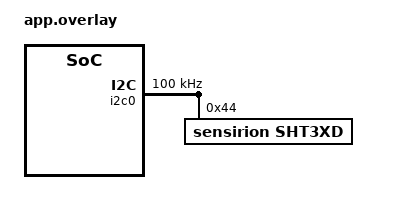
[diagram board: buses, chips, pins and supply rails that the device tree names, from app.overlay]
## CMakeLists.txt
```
# -----------------------------------------------------------------------------
#  BLE Environmental Sensor Node - Zephyr / nRF Connect SDK application
#
#  Board: nrf52840_supermini (out-of-tree board definition, see boards/)
#  Target: nRF52840 + SHT31 (I2C) + battery divider (SAADC)
# -----------------------------------------------------------------------------
cmake_minimum_required(VERSION 3.20.0)

# Out-of-tree board definitions live next to the application.
set(BOARD_ROOT ${CMAKE_CURRENT_SOURCE_DIR} CACHE INTERNAL "")

find_package(Zephyr REQUIRED HINTS $ENV{ZEPHYR_BASE})

project(env_sensor_node)

target_sources(app PRIVATE
    src/main.c
    src/board_power.c
    src/env_sensor.c
    src/history.c
    src/env_service.c
    src/power.c
    src/status_led.c
    src/bootloader.c
)
```

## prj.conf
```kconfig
# =============================================================================
#  BLE Environmental Sensor Node - application configuration
#  nRF Connect SDK v2.7.0 (Zephyr 3.6.99-ncs2), board: nrf52840_supermini
#
#  NOTE: Kconfig does not support trailing comments on a value line - a
#  "# ..." after "=y" becomes part of the value and the assignment is
#  rejected. Comments therefore go on their own line.
# =============================================================================

# -----------------------------------------------------------------------------
#  Logging - the console is routed to USB CDC ACM (no UART bridge on the board)
# -----------------------------------------------------------------------------
CONFIG_LOG=y
CONFIG_LOG_MODE_DEFERRED=y
CONFIG_LOG_DEFAULT_LEVEL=3
CONFIG_LOG_BUFFER_SIZE=4096
CONFIG_LOG_PROCESS_THREAD_STACK_SIZE=1024

CONFIG_CONSOLE=y
CONFIG_SERIAL=y
CONFIG_UART_CONSOLE=y
CONFIG_UART_INTERRUPT_DRIVEN=y
CONFIG_LOG_BACKEND_UART=y

CONFIG_USB_DEVICE_STACK=y
CONFIG_USB_CDC_ACM=y
CONFIG_USB_DEVICE_INITIALIZE_AT_BOOT=y

# Same identifiers the board uses in application mode, so the host keeps
# treating it as the same device across a reflash.
CONFIG_USB_DEVICE_VID=0x239A
CONFIG_USB_DEVICE_PID=0x8029
CONFIG_USB_DEVICE_MANUFACTURER="EnvNode"
CONFIG_USB_DEVICE_PRODUCT="Env Sensor Node"

# -----------------------------------------------------------------------------
#  Bluetooth LE peripheral
# -----------------------------------------------------------------------------
CONFIG_BT=y
CONFIG_BT_PERIPHERAL=y
CONFIG_BT_DEVICE_NAME="EnvNode"
CONFIG_BT_DEVICE_NAME_DYNAMIC=n
CONFIG_BT_MAX_CONN=1

# Appearance 0x0541 = "Sensor". Zephyr expresses the 16-bit assigned number
# in decimal in Kconfig.
CONFIG_BT_DEVICE_APPEARANCE=1345

# Built-in (open source) link layer. On a full NCS install the Nordic
# SoftDevice Controller is the alternative: add the sdk-nrfxlib module and
# swap this pair for CONFIG_BT_LL_SOFTDEVICE=y, which trades flash for a
# slightly better radio power profile.
CONFIG_BT_CTLR=y
CONFIG_BT_LL_SW_SPLIT=y

# No pairing: the service is read/notify only. Enabling LE Secure Connections
# is CONFIG_BT_SMP=y plus BT_GATT_PERM_*_ENCRYPT on the characteristic
# permissions in env_service.c.
CONFIG_BT_SMP=n
CONFIG_BT_PRIVACY=n
CONFIG_BT_GATT_DYNAMIC_DB=n
CONFIG_BT_GATT_NOTIFY_MULTIPLE=n
CONFIG_BT_EXT_ADV=n

# Requested connection parameters: 100 ms interval, no latency, 4 s
# supervision. Zephyr expresses the interval in 1.25 ms units, so 80 == 100 ms.
CONFIG_BT_PERIPHERAL_PREF_MIN_INT=80
CONFIG_BT_PERIPHERAL_PREF_MAX_INT=80
CONFIG_BT_PERIPHERAL_PREF_LATENCY=0
CONFIG_BT_PERIPHERAL_PREF_TIMEOUT=400

CONFIG_BT_BUF_ACL_TX_COUNT=4
CONFIG_BT_BUF_ACL_RX_COUNT=4

# -----------------------------------------------------------------------------
#  Declared 32.768 kHz accuracy
#
# This is a radio power setting, not a clock formality, and the default is a
# pessimistic one.
#
# The controller has to open each radio window early enough to cover the
# frequency error of both ends, and the width it uses is derived from this
# number. A looser accuracy means wider windows, which means more time with the
# radio and the HFXO powered, which means more average current - on every
# advertising event, for the whole life of the product.
#
# Zephyr's default for a crystal source is CLOCK_CONTROL_NRF_K32SRC_50PPM
# ("31 ppm to 50 ppm"). A common 32.768 kHz tuning-fork crystal is specified at
# +/-20 ppm, and the driver offers that as its own choice, so the default can be
# several times looser than the hardware warrants. On a node whose entire budget
# is 50 uA, that is worth correcting.
#
# Where the number comes from, and the honest limits of it: a board measured
# 65 uA before its first connection and 51 uA afterwards, with nothing in the
# application changing between the two - on_disconnected() restores the same
# sampling cadence and restarts advertising on the same interval. What does
# change across a first connection is what the controller knows: before it, the
# only drift figure available is this declared one; after it, the peer has been
# measured. The 14 uA is consistent with the windows narrowing once the drift is
# no longer a guess.
#
# That is a hypothesis, not a measurement, so it is set up to be tested rather
# than asserted. The test is one line and needs no connection:
#
#     flash this build and measure WITHOUT connecting. If the cold figure
#     moves toward 51 uA, the declared accuracy was the limiter. If it does
#     not move, the difference is elsewhere and this line is still correct
#     for the hardware - just not the explanation.
#
# 30 ppm is the conservative first step: a real narrowing from 50, without
# claiming more than most crystals deliver. If it helps, try 20 ppm.
#
# DIAGNOSTIC FOR BACKING IT OFF: too-tight a declaration is not free. It makes
# the windows too narrow, which shows up as dropped packets and, eventually, a
# link that will not stay up. If connections start failing or disconnect with a
# supervision timeout (reason 0x08) or fail to establish (0x3E), go back to 50.
# The crystal's actual specification is the correct value, and a datasheet beats
# either guess.
CONFIG_CLOCK_CONTROL_NRF_K32SRC_30PPM=y

# -----------------------------------------------------------------------------
#  Sensors
# -----------------------------------------------------------------------------
CONFIG_SENSOR=y
CONFIG_SHT3XD=y
CONFIG_I2C=y
CONFIG_ADC=y

# Single-shot, not periodic. This is the difference between an SHT3x that costs
# 0.3 uA and one that costs about 9 uA, and the driver's default is the expensive
# one.
#
# The choice is a Zephyr Kconfig 'choice' inside the driver, and its default is
# CONFIG_SHT3XD_PERIODIC_MODE: sht3xd_init() writes the periodic-measurement
# command at boot and the part then measures for ever, whether or not anything
# reads it. With CONFIG_SHT3XD_MPS_1 that is one measurement per second, and a
# periodic conversion at high repeatability draws about 600 uA for about 15 ms:
#
#     600 uA x 15 ms = 9 uAs per second  ->  ~9 uA average, continuously
#
# This application reads the sensor once per 30 s. Paying 9 uA to take 30
# measurements and use one is the kind of waste that never shows up as a bug,
# only as a standby current that will not come down. It is worth a mention in
# this file because nothing in the application source would ever have revealed
# it.
#
# In single-shot mode the conversion is started by sensor_sample_fetch() and the
# part returns to its idle state (about 0.2 uA) afterwards:
#
#     one conversion per 30 s  ->  ~0.3 uA average
#
# The cost is that sensor_sample_fetch() blocks for the measurement - 15 ms at
# high repeatability. The sampler runs from a work queue on a 30 s cadence, so
# blocking for 15 ms of that is free.
#
# There is a bonus beyond the current: a single-shot reading is taken when it is
# asked for, rather than being up to a second old by the time it is collected.
CONFIG_SHT3XD_SINGLE_SHOT_MODE=y

# -----------------------------------------------------------------------------
#  Power management
#    connected    : System ON, MCU running, 2 s notify cadence
#    disconnected : System ON Idle, RTC running, 30 s sampling cadence
#
#  Note that CONFIG_PM / CONFIG_PM_DEVICE are deliberately absent, and that
#  is a platform fact rather than an omission.
#
#  Once every thread is blocked the idle thread executes WFE and the nRF52840
#  drops into System ON Idle with the RTC and RAM alive - no configuration
#  required. CONFIG_TICKLESS_KERNEL is what makes that state worth anything:
#  without it the kernel would wake on every tick instead of sleeping all the
#  way until the next scheduled sample.
#
#  CONFIG_PM / CONFIG_PM_DEVICE / CONFIG_PM_DEVICE_RUNTIME all depend on
#  HAS_PM, and no Nordic SoC selects HAS_PM in Zephyr 3.6.99. Verified in
#  both this tree and upstream v3.7.0: soc/nordic/nrf52/Kconfig selects
#  HAS_POWEROFF but never HAS_PM, and nothing under soc/nordic implements
#  pm_state_set(). nRF52 has no intermediate SoC power states to program, so
#  there is nothing for the subsystem to manage - setting CONFIG_PM=y here
#  would silently resolve to n.
#
#  The deep-sleep primitive that *is* modelled for this SoC is System OFF:
#
#    CONFIG_POWEROFF=y     -> pm_system_off(), needs a GPIO to wake it up
#
#  The SuperMini has no user button, so there is no wake source and System
#  OFF is left unused. See README section 5.
# -----------------------------------------------------------------------------
CONFIG_TICKLESS_KERNEL=y

# -----------------------------------------------------------------------------
#  Kernel sizing
# -----------------------------------------------------------------------------
CONFIG_MAIN_STACK_SIZE=2048
CONFIG_SYSTEM_WORKQUEUE_STACK_SIZE=1536
CONFIG_HEAP_MEM_POOL_SIZE=0
CONFIG_ASSERT=y

# -----------------------------------------------------------------------------
#  Firmware output: Adafruit UF2 for the nice!nano / SuperMini bootloader
# -----------------------------------------------------------------------------
CONFIG_BUILD_OUTPUT_UF2=y

# sys_reboot() is what bootloader.c uses to hand the machine over to the
# bootloader (it writes the DFU magic into NRF_POWER->GPREGRET first, so the
# reset lands straight in UF2 mode). The Kconfig guard hides it by default.
CONFIG_REBOOT=y

# =============================================================================
#  MCUboot OTA - NOT ENABLED ON THIS BOARD
#
#  The SuperMini ships with the Adafruit UF2 bootloader (USB MSC drag & drop,
#  UF2 volume label "NICENANO", USB 239A:00B3). That bootloader owns
#  0x000F4000-0x00100000 and reserves 0x00000-0x26000 for the MBR plus
#  SoftDevice S140, so there is no free region for a second MCUboot slot, and
#  MCUboot itself cannot be installed without an SWD probe.
#
#  To build this exact application with MCUboot on an nRF52840 DK (on-board
#  J-Link), swap the board target and uncomment the block below:
#
#    west build -b nrf52840dk/nrf52840 --sysbuild zephyr/
#
#  CONFIG_BOOTLOADER_MCUBOOT=y
#  CONFIG_MCUBOOT_SIGNATURE_KEY_FILE="mcuboot_private.pem"
#  CONFIG_MCUBOOT_IMAGE_VERSION="1.0.0"
#
#  Then flash the bootloader once over SWD and everything afterwards over BLE:
#    west flash --erase
#    mcumgr --conntype ble --connstring peer_name=EnvNode image upload zephyr.signed.bin
#
#  The application code in src/ is identical on both targets - only the
#  partition layout and the bootloader differ.
# =============================================================================
```

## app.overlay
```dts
/*
 * Application overlay for the BLE environmental sensor node.
 *
 * Everything here is a *project* decision; the board definition in
 * boards/nordic/nrf52840_supermini/ owns the SoC, flash layout, LED and
 * console. Keeping the split explicit means the same application can be
 * rebuilt for an nRF52840 DK by swapping the board target and pointing the
 * sensor at whatever pins the DK is wired to.
 *
 * Wiring
 * ------
 *   SHT31 VIN  -> 3V3
 *   SHT31 GND  -> GND
 *   SHT31 SDA  -> P1.04   (silkscreen "104")
 *   SHT31 SCL  -> P1.06   (silkscreen "106")
 *   SHT31 ADDR -> GND     (selects I2C address 0x44)
 *
 * 3V3 and the two I2C lines are all the sensor needs; the pull-ups are on
 * the breakout board. The data lines sit on the nRF52840's internal pull-ups
 * in sleep mode as well, which is why pinctrl marks them low-power-enable.
 */

&i2c0 {
	clock-frequency = <I2C_BITRATE_STANDARD>; /* 100 kHz */

	sht3xd: sht3xd@44 {
		compatible = "sensirion,sht3xd";
		reg = <0x44>;

		/*
		 * The SHT31 supports up to 1 MHz, but 100 kHz keeps the
		 * wiring forgiving on a breadboard and costs nothing at a
		 * 2 s sample interval.
		 */
	};
};
```

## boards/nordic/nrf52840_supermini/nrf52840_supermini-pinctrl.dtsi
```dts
/*
 * Pin control for the SuperMini nRF52840.
 *
 * Copyright (c) 2026
 * SPDX-License-Identifier: Apache-2.0
 *
 * The SuperMini silkscreens port numbers directly: "104" is P1.04 and "106"
 * is P1.06. I2C0 is wired there, which keeps the sensor on pins that are
 * actually broken out and leaves the nice!nano defaults (P0.17 / P0.20) free.
 */

&pinctrl {
	i2c0_default: i2c0_default {
		group1 {
			psels = <NRF_PSEL(TWIM_SDA, 1, 4)>,
				<NRF_PSEL(TWIM_SCL, 1, 6)>;
		};
	};

	i2c0_sleep: i2c0_sleep {
		group1 {
			psels = <NRF_PSEL(TWIM_SDA, 1, 4)>,
				<NRF_PSEL(TWIM_SCL, 1, 6)>;
			low-power-enable;
		};
	};
};
```

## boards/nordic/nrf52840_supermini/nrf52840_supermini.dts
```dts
/*
 * SuperMini nRF52840 - a nice!nano v2 compatible clone.
 *
 * Copyright (c) 2026
 * SPDX-License-Identifier: Apache-2.0
 *
 * This board definition exists because upstream Zephyr ships no nRF52840
 * board that matches this hardware. The parts that matter and where they come
 * from:
 *
 *   - LED on P0.15, active high: taken from the Adafruit nRF52 bootloader's
 *     src/boards/nice_nano/board.h (LED_PRIMARY_PIN PINNUM(0,15),
 *     LED_STATE_ON 1).
 *   - Flash layout: the Adafruit bootloader reserves 0x00000-0x26000 for the
 *     MBR plus SoftDevice S140 and 0xF4000-0x100000 for itself, so the
 *     application is linked at 0x26000.
 *   - USB CDC ACM is the console, because the board has no UART bridge.
 */

/dts-v1/;

#include <nordic/nrf52840_qiaa.dtsi>
#include "nrf52840_supermini-pinctrl.dtsi"

/ {
	model = "SuperMini nRF52840 (nice!nano v2 compatible)";
	compatible = "nordic,nrf52840-supermini";

	chosen {
		zephyr,console = &cdc_acm_uart;
		zephyr,shell-uart = &cdc_acm_uart;
		zephyr,uart-mcumgr = &cdc_acm_uart;
		zephyr,bt-mon-uart = &cdc_acm_uart;
		zephyr,bt-c2h-uart = &cdc_acm_uart;
		zephyr,sram = &sram0;
		zephyr,flash = &flash0;
		zephyr,code-partition = &code_partition;

		/*
		 * nrf52840.dtsi points zephyr,entropy at the CryptoCell block,
		 * which only exists when the nRF Security subsystem is present
		 * (the sdk-nrfxlib module). This application does not use it, so
		 * the chosen node would reference a device that is never built
		 * and the random subsystem fails to link
		 * (`undefined reference to __device_dts_ord_N`).
		 *
		 * Point it at the nRF52840's own true random number generator
		 * instead, which is what CONFIG_ENTROPY_NRF5_RNG drives.
		 */
		zephyr,entropy = &rng;
	};

	leds {
		compatible = "gpio-leds";

		led0: led_0 {
			gpios = <&gpio0 15 GPIO_ACTIVE_HIGH>;
			label = "Blue LED";
		};
	};

	aliases {
		led0 = &led0;
		mcuboot-led0 = &led0;
		watchdog0 = &wdt0;
	};

	/*
	 * Battery voltage sensing. TWO dividers exist on this hardware and both
	 * are described here, because which one the application reads has been
	 * changed back and forth several times and the choice is a one-line
	 * setting rather than a hardware decision:
	 *
	 *   index 0 - channel 2, AIN2, P0.04 - the board's own divider
	 *
	 *     BAT+ ---[ 100k ]---+--- AIN2 / P0.04
	 *                        |
	 *                     [ 100k ]
	 *                        |
	 *                       GND
	 *
	 *     200k permanently across the cell: 18 uA at 3.6 V, 21 uA at a full
	 *     4.2 V. Soldered to the cell and to ground with no pin in between,
	 *     so nothing the firmware does can switch it off. Reading it costs
	 *     nothing extra - it draws either way - but depending on it means
	 *     giving up the option of ever stopping it.
	 *
	 *   index 1 - channel 5, AIN5, P0.29 pad "029" - a divider of our own
	 *
	 *     600k + 600k = 3.0 uA, and the number matters less than the fact
	 *     that this divider is ours to change: give its top leg a GPIO and
	 *     it is powered only for the milliseconds the ADC is sampling,
	 *     ~0.017 uA averaged. That cannot be done to the board's.
	 *
	 * Both are 1:1, so APP_BATT_DIVIDER_NUM/DEN is 2/1 either way and moving
	 * between them does not touch the conversion at all - only what can be
	 * done about the current later.
	 *
	 * Which one is read is set by APP_BATT_SENSE_CHANNEL_IDX in
	 * src/app_config.h, against the order of the io-channels list below.
	 * Active is listed second, so the compiler's default (index 0) is the
	 * board's own divider and the external one is an explicit opt-in.
	 *
	 * The nRF52840 has eight SAADC channels and they are all on port 0:
	 *
	 *   AIN0 P0.02 (pad "002")   AIN4 P0.28
	 *   AIN1 P0.03               AIN5 P0.29 (pad "029")
	 *   AIN2 P0.04               AIN6 P0.30
	 *   AIN3 P0.05               AIN7 P0.31 (pad "031")
	 *
	 * No P1.xx pin has an analog input at all, whatever the silkscreen
	 * suggests - the board prints the port number directly ("102" = P1.02).
	 *
	 * The gain and reference in both channel nodes below give a 0-3.6 V range
	 * at the pin. The multiplier that turns that into a battery voltage lives
	 * in APP_BATT_DIVIDER_NUM/DEN (see src/app_config.h).
	 */
	zephyr,user {
		/* index 0 = P0.04 (board divider), index 1 = P0.29 (external) */
		io-channels = <&adc 2>, <&adc 5>;
	};
};

&adc {
	status = "okay";
	#address-cells = <1>;
	#size-cells = <0>;

	/*
	 * No zephyr,oversampling here, deliberately.
	 *
	 * nRF SAADC hardware oversampling raises the result's width: 12-bit
	 * resolution with 4x oversampling produces a 14-bit value (0..16383)
	 * for the same 0..VFS span. The nrfx driver hands that buffer straight
	 * to the hardware (nrf_saadc_buffer_init) and does not rescale it, but
	 * adc_raw_to_millivolts() divides by 2^sequence->resolution - 4096 for
	 * resolution 12 - so the converted millivolts come out 4x too high.
	 *
	 * The first version of this file had oversampling = <4>, and the battery
	 * reading was 65501 mV. Dividing that back by 5 and by 4 gives 3275 mV
	 * at the pin, i.e. the sense pin sitting on the 3.3 V rail.
	 *
	 * Software averaging (APP_BATT_ADC_AVG samples in env_sensor.c) already
	 * does the noise reduction that hardware oversampling would have
	 * provided, without the resolution trap.
	 */
	/*
	 * Both sense inputs are defined, and only one of them is used at a time -
	 * see the io-channels comment above. Defining both costs nothing at
	 * runtime: an unused ADC channel is not configured and does not sample.
	 * The divider feeding it, however, draws whether or not anything reads
	 * it, which is the point of the whole comparison.
	 */
	channel@2 {
		reg = <2>;
		zephyr,gain = "ADC_GAIN_1_6";
		zephyr,reference = "ADC_REF_INTERNAL";
		zephyr,acquisition-time = <ADC_ACQ_TIME(ADC_ACQ_TIME_MICROSECONDS, 40)>;
		zephyr,input-positive = <NRF_SAADC_AIN2>; /* P0.04, board divider */
		zephyr,resolution = <12>;
	};

	channel@5 {
		reg = <5>;
		zephyr,gain = "ADC_GAIN_1_6";
		zephyr,reference = "ADC_REF_INTERNAL";
		zephyr,acquisition-time = <ADC_ACQ_TIME(ADC_ACQ_TIME_MICROSECONDS, 40)>;
		zephyr,input-positive = <NRF_SAADC_AIN5>; /* P0.29, pad "029" */
		zephyr,resolution = <12>;
	};
};

&gpiote {
	status = "okay";
};

&gpio0 {
	status = "okay";
};

&gpio1 {
	status = "okay";
};

&i2c0 {
	compatible = "nordic,nrf-twi";
	status = "okay";
	pinctrl-0 = <&i2c0_default>;
	pinctrl-1 = <&i2c0_sleep>;
	pinctrl-names = "default", "sleep";
};

/*
 * Flash layout imposed by the Adafruit UF2 bootloader.
 *
 *   0x00000000 - 0x00026000   MBR + SoftDevice S140 v7   (bootloader owned)
 *   0x00026000 - 0x000F4000   application                (this file)
 *   0x000F4000 - 0x00100000   bootloader + settings      (bootloader owned)
 *
 * The application is never told about the first region: with
 * CONFIG_USE_DT_CODE_PARTITION the image simply starts at code_partition and
 * the bootloader jumps straight to it.
 */
&flash0 {
	partitions {
		compatible = "fixed-partitions";
		#address-cells = <1>;
		#size-cells = <1>;

		code_partition: partition@26000 {
			label = "code";
			reg = <0x00026000 0x000C0000>;
		};

		/* Reserved for NVS / settings. Unused today because the ring
		 * buffer lives in RAM, but it keeps the layout honest and
		 * leaves room for BLE bonding storage later.
		 */
		storage_partition: partition@e6000 {
			label = "storage";
			reg = <0x000e6000 0x0000e000>;
		};
	};
};

zephyr_udc0: &usbd {
	compatible = "nordic,nrf-usbd";
	status = "okay";

	cdc_acm_uart: cdc_acm_uart {
		compatible = "zephyr,cdc-acm-uart";
	};
};
```

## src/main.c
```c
/*
 * BLE environmental sensor node - application entry point.
 *
 * Boot order matters:
 *   0. board power pins     (straps that must not be left floating, so this
 *                            comes before anything else touches a GPIO)
 *   1. history buffer       (nothing else may use it before this)
 *   2. status LED           (gives immediate visual feedback)
 *   3. sensors              (so the first read already has real values)
 *   4. Bluetooth            (brings up the controller and registers the
 *                            statically defined GATT service)
 *   5. advertising + cadence
 */

#include <zephyr/bluetooth/bluetooth.h>
#include <zephyr/kernel.h>
#include <zephyr/logging/log.h>

#include <hal/nrf_power.h>

#include "app_config.h"
#include "board_power.h"
#include "env_sensor.h"
#include "env_service.h"
#include "history.h"
#include "power.h"
#include "status_led.h"

LOG_MODULE_REGISTER(main, LOG_LEVEL_INF);

int main(void)
{
	/*
	 * Before anything else, including the banner: put the board's power
	 * straps into their non-drawing state. See board_power.c for why a
	 * floating strap on the charger costs more than the whole firmware
	 * budget.
	 */
	board_power_init();

	LOG_INF("=================================================");
	LOG_INF(" BLE environmental sensor node v%s", APP_VERSION_STRING);
	LOG_INF(" board: %s", CONFIG_BOARD_TARGET);
	LOG_INF(" build: nRF Connect SDK " APP_NCS_VERSION_STRING);
	LOG_INF("=================================================");

#if defined(NRF_POWER)
	/*
	 * Clear the reset-reason flags. This is the application's job, as the
	 * bootloader's own main.c says: "RESETREAS is not cleared by
	 * bootloader, it should be cleared by application upon init()".
	 *
	 * It matters because RESETREAS is sticky - a bit stays set until it is
	 * written back - and the bootloader reads the RESETPIN bit to decide
	 * whether a reset came from the reset pin. That bit is half of the
	 * double-tap-to-DFU condition:
	 *
	 *     dfu_start = (*dbl_reset_mem == DFU_DBL_RESET_MAGIC)
	 *                 && reason_reset_pin
	 *
	 * Leaving stale bits set makes the bootloader see "pin reset" for
	 * resets that were not, which turns a 500 ms timing window into
	 * something that only half works.
	 */
	NRF_POWER->RESETREAS = NRF_POWER->RESETREAS;
#endif

	history_init();
	status_led_init();

	if (env_sensor_init() != 0) {
		LOG_ERR("sensor init failed - the service will report invalid values");
	}

	int err = bt_enable(NULL);

	if (err != 0) {
		LOG_ERR("bt_enable failed (%d)", err);
		return 0;
	}
	LOG_INF("Bluetooth stack enabled");

	err = env_service_init();
	if (err != 0) {
		LOG_ERR("GATT service init failed (%d)", err);
	}

	power_init();

	/* Everything from here on is event driven: the work queue samples,
	 * the Bluetooth host takes care of the radio. Sleeping forever lets
	 * the idle thread park the CPU in System ON Idle.
	 */
	for (;;) {
		k_sleep(K_FOREVER);
	}
}
```

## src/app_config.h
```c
/*
 * Build-time tunables for the environmental sensor node.
 *
 * Kept as plain macros so the application has no extra Kconfig plumbing;
 * promote them to a <app>/Kconfig menu if the project grows more options.
 */

#ifndef APP_CONFIG_H_
#define APP_CONFIG_H_

/*
 * Cadence while a central is connected. The GATT notifications are driven by
 * a delayed work item, so this is exactly the notify interval.
 */
#define APP_NOTIFY_INTERVAL_S 2

/*
 * Cadence while no central is connected. Between samples the CPU stays in
 * System ON Idle and the kernel RTC keeps the time for us.
 */
#define APP_OFFLINE_SAMPLE_INTERVAL_S 30

/*
 * Advertising interval in 0.625 ms units while waiting for a reconnect.
 * 3200 == 2 s. A long interval is the single biggest lever on the average
 * standby current, so it is deliberately slow.
 *
 *     interval    advertising current at 0 dBm (approx)
 *        1 s      ~30 uA      the previous value of this build
 *        2 s      ~15 uA      what this build does
 *     100 ms      ~300 uA     ten times that, and the price of being found fast
 *
 * This was 1600 (1 s) and was doubled to 3200 to cut the radio's share of the
 * standby current, which a ~100 uA board reading made worth taking.
 *
 * A two-phase scheme - fast advertising for the first 60 s after boot and again
 * after every disconnect, then slow - was built here and then reverted, and the
 * reasoning is worth keeping, because the trade is not visible from either side
 * alone. It would make discovery feel immediate while costing almost nothing
 * over a day (300 uA for 60 s, then 30 uA, averages 30.2 uA). What it also does
 * is put a ~300 uA state into the firmware, so a standby reading taken inside
 * that window comes out ten times too high - and "why is my number wrong" has
 * already been the most expensive question in this project, repeatedly.
 *
 * The cost of a long steady interval is discovery latency, and the floor on this
 * hardware is known: field experience here found 3 s already too slow for a
 * phone to find or connect to the node. 2 s is halfway back from that limit and
 * was chosen with it in mind. If a phone starts failing to find the node, 1600
 * (1 s) is the value to put back - and note that the interval is not where the
 * large numbers are; see data/README.md.
 */
#define APP_ADV_INTERVAL_UNITS 3200

/* Give up (and stop advertising) after this many seconds, 0 = never. */
#define APP_ADV_TIMEOUT_S 0

/*
 * Battery voltage divider, Vbat = Vadc * NUM / DEN.
 *
 * Wiring: one of the two dividers this hardware offers, selected by
 * APP_BATT_SENSE_CHANNEL_IDX below against the order of the io-channels list
 * in boards/nordic/nrf52840_supermini/nrf52840_supermini.dts:
 *
 *   index 0   P0.04 / AIN2   the board's own pair, 100k + 100k, 1:1
 *   index 1   P0.29 / AIN5   an external pair on pad "029", 600k + 600k, 1:1
 *
 * Both are 1:1, so
 *
 *     Vadc = Vbat / 2    ->  NUM/DEN = 2/1
 *
 * and the ratio below is not a function of the choice. Only the current is,
 * which is the power paragraph.
 *
 * ---------------------------------------------------------------------------
 * The ratios this file has been through, in order, because the lesson is that
 * the number has to come off the board rather than off an assumption:
 *
 *   2/1   initial guess from the nice!nano reference design
 *   5/1   "corrected" from a 30k/7.5k pair - SMD markings 303 and 752 - that
 *         turned out not to be what is fitted
 *   2/1   the actual resistors: two 100k - the BOARD's pair
 *
 * Each wrong value produced a battery reading that looked plausible in the
 * log until it was checked against a multimeter. Check it against a meter.
 * ---------------------------------------------------------------------------
 *
 * Power: the divider is across the cell permanently and the firmware has no way
 * to switch it off, so its current is part of the standby floor. The *ratio*
 * and the *cost* are independent choices - the same 2:1 ratio built from
 * 30k/7.5k drew 101 uA and would have failed on its own. Resistor choice by
 * cost:
 *
 *     30k / 7.5k   101 uA    fails the budget outright
 *     100k / 100k   18 uA    the BOARD's pair on P0.04, always connected
 *     600k / 600k  3.0 uA    an external pair on P0.29
 *     gated        0.017 uA  that external pair with its top leg on a GPIO
 *
 * Eighteen microamps is more than a third of the whole 50 uA budget, spent on a
 * reading taken once every 30 s, and the board's divider draws it whether or
 * not anything reads it. So the choice between the two is not about what is
 * spent today - both dividers sit there drawing regardless - it is about what
 * can still be changed:
 *
 *   reading P0.04 exposes no extra cost, and lets an external pair come off,
 *   saving its 3.0 uA. It also forecloses the last row: the board's divider is
 *   soldered to the cell and to ground, with no pin in between to switch.
 *
 *   reading P0.29 keeps a divider whose own top leg can be put on a GPIO, so
 *   it is powered for the milliseconds the ADC samples and averages to
 *   nothing. That is worth about 3.0 uA now and ~21 uA if the board's divider
 *   is ever desoldered, at the cost of carrying a second divider meanwhile.
 *
 * Either answer is defensible; that is why it is a #define and not an argument.
 *
 * ---------------------------------------------------------------------------
 * Settling: 600k || 600k is a 300k source impedance, and the acquisition time
 * cannot be raised to compensate.
 *
 * nRF52840's SAADC TACQ is a 3-bit field offering only 3/5/10/15/20/40 us
 * (SAADC_CH_CONFIG_TACQ_Msk is 0x7, values 0..5). The board DTS already asks
 * for 40 us, so 40 us is the hardware ceiling - the driver's alternative
 * linear-TACQ path tops out at 750 ns, which would have rejected 40 us, so the
 * enum path is provably the one in use.
 *
 * If the reported vbat reads *low* and consistently by a percent or two, that
 * is the signature of the sampling capacitor not fully charging through 300k.
 * The fix is not software: put a 10 nF capacitor from the sense node to GND.
 * It gives the sample-and-hold a low-impedance source at the instant it
 * samples, has no effect on the DC ratio, and costs nothing at 3.2 uA. Dropping
 * back to 300k/300k (6.3 uA, 150k source) is the other option.
 *
 * The check that settles it is a multimeter on BAT+ against the reported value.
 * ---------------------------------------------------------------------------
 *
 * Also worth knowing: if the board has its own divider populated on P0.04, it
 * is still fitted and still drawing whatever it drew before. Adding this one on
 * top is only safe to assume once the standby current has actually been
 * measured.
 */
#define APP_BATT_ADC_ENABLE 1

/*
 * Which of the two sense inputs to read, by index into the io-channels list in
 * the board devicetree:
 *
 *   0   P0.04 / AIN2   the board's own divider
 *   1   P0.29 / AIN5   an external divider on pad "029"
 *
 * This is a one-line switch on purpose. The pin has been changed back and
 * forth several times, and every one of those changes was an edit to a
 * devicetree they should not have needed: both dividers exist on the hardware
 * regardless, both are 1:1, and the only thing that differs is which one the
 * ADC samples. Defining both channels and choosing here keeps the converter
 * configuration honest and makes the comparison a rebuild rather than a
 * rewrite.
 *
 * The cost difference is real and is documented in the block above - but note
 * that it is not a difference in what is *drawn*, only in what can still be
 * switched off later.
 */
#define APP_BATT_SENSE_CHANNEL_IDX 1

/* For the boot log, so the console states which input is in use rather than
 * leaving it to be worked out from a channel number.
 */
#if APP_BATT_SENSE_CHANNEL_IDX == 0
#define APP_BATT_SENSE_NAME "P0.04/AIN2 (board divider)"
#else
#define APP_BATT_SENSE_NAME "P0.29/AIN5 (external divider)"
#endif

#define APP_BATT_DIVIDER_NUM 2
#define APP_BATT_DIVIDER_DEN 1

/*
 * Number of ADC samples averaged per reading. This is software averaging, and
 * it is why the board DTS deliberately does not enable hardware oversampling:
 * nRF SAADC oversampling widens the raw value (12-bit + 4x oversampling gives
 * a 14-bit result) while adc_raw_to_millivolts() still divides by 2^12, which
 * makes every converted value 4x too high.
 */
#define APP_BATT_ADC_AVG 8

/*
 * Above this, the reading is a wiring fault rather than a battery - a LiPo
 * tops out around 4.2 V. The first run of this firmware reported 65501 mV
 * because the sense pin was sitting on the 3.3 V rail, and a saturated number
 * like that explains nothing. env_sensor.c now rejects it and says so.
 */
#define APP_BATT_PLAUSIBLE_MAX_MV 4400

/*
 * Bring-up aid: at boot, read all eight SAADC analog inputs and log the
 * millivolts on each.
 *
 * This exists because "which pad is my divider on" has cost this project
 * several rounds. The nRF52840 has eight analog inputs and they are all on port
 * 0, but which ones a given clone breaks out - and what its silkscreen calls
 * them - varies between the SuperMini, the Promicro and the nice!nano layouts.
 * Reading them all takes a few milliseconds, once, and turns a guess into a
 * reading.
 *
 * Set to 0 once the pin is confirmed. It is a diagnostic, not something to
 * ship, and it means nothing drains the divider between samples.
 */
#define APP_BATT_AIN_SWEEP_DIAG 1

/*
 * Status LED (blue, P0.15, active high).
 *
 * The heartbeat is off by default and that is a deliberate power decision:
 * a 3 ms blink of a ~1 mA LED once per second averages 3-10 uA, which is a
 * large slice of the <50 uA standby budget. Use "connected" mode instead -
 * it lights the LED only while a central is attached, when the radio already
 * dominates the power draw.
 */
#define APP_LED_HEARTBEAT_ENABLE 0
#define APP_LED_CONNECTED_ENABLE 1

/*
 * Shown in the boot banner so a log capture identifies the build.
 *
 * Bump this on every reflash you intend to verify. Without a version change
 * there is no way to tell from the console whether the image on the board is
 * the one you just built - which is exactly the confusion this line exists to
 * prevent.
 */
#define APP_VERSION_STRING "1.0.16"
#define APP_NCS_VERSION_STRING "v2.7.0"

#endif /* APP_CONFIG_H_ */
```

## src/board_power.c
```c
/*
 * Board-level pins that are not application resources but still have to be
 * driven into a defined state.
 *
 * The distinction this file exists to make:
 *
 *   "Unused pin"     -> no trace, no net. Nordic's guidance is to leave it
 *                       disconnected (input, buffer off) and it costs nothing.
 *   "Unconnected by   -> a pin that is *wired to something on the board*.
 *    the application"    Leaving that one floating is not the same thing at
 *                       all: it hands an input of some other chip an
 *                       undefined level, and whatever that chip does with it
 *                       is now out of your control.
 *
 * The application never "uses" the pin below, which is exactly why it was
 * missed. It is not an LED, not a button, not a bus - it is a strap on a power
 * chip, and a strap has to be strapped.
 *
 * ---------------------------------------------------------------------------
 * P0.13 - HICHG, the charger's charge-current select
 *
 * Taken from the board's own documentation (the debugging notes kept with the
 * Arduino project that ran on this hardware first, 调试记录.md):
 *
 *   "不要用 D13 当 LED 使用（它是绿灯；且 P0.13 是充电电流配置脚 HICHG，
 *    误接会干扰充电设置）"
 *
 * So P0.13 is not an LED pin and not a spare: it is the strapping input that
 * selects the LiPo charger's charge current. The charger is powered whenever
 * the board is powered, so this pin is wired to something that matters even
 * though the application never uses it.
 *
 * ---------------------------------------------------------------------------
 * WHICH LEVEL IS THE QUIET ONE IS NOT YET KNOWN - AND THAT IS RECORDED HERE
 * RATHER THAN GUESSED AT
 *
 * The first version of this file drove the pin low, on the reasoning that a
 * strap should be strapped and that low is the conservative choice. The meter
 * said otherwise, on the bare-board probe with nothing else running:
 *
 *     P0.13 as input, disconnected     102 uA
 *     P0.13 driven low                 600 uA
 *
 * Six times worse. So LOW is *not* this board's quiet setting, and "drive it
 * low because low sounds safe" was an assumption that measurement overturned.
 *
 * Until the bare-board probe's three-state sweep (STRAP_FLOAT / STRAP_LOW /
 * STRAP_HIGH, one minute each - see power_test/src/main.c) says which level
 * is both defined and quiet, this function leaves the pin in the state that
 * was actually measured to be the best one. That is deliberately not a
 * permanent answer: a driven pin is a stronger guarantee than a floating one,
 * and the sweep exists to replace this with a real level.
 *
 * There is one useful thing the 6x swing already tells us: HICHG only changes
 * anything while the charger is running, and a charger only runs when it has
 * an input. A 500 uA swing from this single pin is therefore evidence that
 * whatever is supplying the board is reaching the charger - which means a
 * measurement taken that way reads "charger plus node", not the node.
 *
 * ---------------------------------------------------------------------------
 * Why nrfx rather than the Zephyr GPIO API
 *
 * The point of this call is to be early and unconditional. Going through
 * device_is_ready() plus gpio_pin_configure_dt() would need the GPIO driver to
 * have initialised, and would silently do nothing if it had not. A strap on a
 * power chip should not depend on driver init order.
 */

#include <zephyr/kernel.h>

#include <hal/nrf_gpio.h>

#include "board_power.h"

/*
 * Charger charge-current select (HICHG).
 *
 * Left disconnected, and that is a measurement rather than a default:
 *
 *     disconnected   102 uA
 *     driven low     600 uA
 *
 * Six times worse when driven low, so the pin stays as the reset state leaves
 * it. See the file comment for why this is a decision at all.
 */
#define BOARD_PIN_CHARGER_HICHG NRF_GPIO_PIN_MAP(0, 13)

/*
 * P0.15 - the pin the board definition calls led0.
 *
 * It is driven low here, in board_power_init(), rather than left to the LED
 * module, because whether it is driven is a property of the board and not of
 * the LED feature: a pin wired to something on the board should not depend on
 * application code that might be disabled or deleted.
 *
 * This is not claimed to save current. It was briefly believed to - a product
 * build that left the pin disconnected measured 200 uA where one that drove it
 * measured 103 - but the bare-board probe, which floats every pin, measured
 * 99 uA either way. The attribution did not survive its control, so what is
 * recorded here is the honest version: the level is defined because an
 * undefined pin on a wired net is a bad idea, not because a number says so.
 */
#define BOARD_PIN_STATUS_LED NRF_GPIO_PIN_MAP(0, 15)

void board_power_init(void)
{
	/*
	 * P0.15 first: it is the expensive one. nrf_gpio_cfg_output() clears
	 * the pin before switching the direction to output, so there is no
	 * glitch high on the way in.
	 */
	nrf_gpio_cfg_output(BOARD_PIN_STATUS_LED);
	nrf_gpio_pin_clear(BOARD_PIN_STATUS_LED);

	/*
	 * P0.13 keeps the state a reset leaves it in, deliberately: driving it
	 * low was measured at six times the current. Written out anyway so the
	 * decision is visible in the code rather than implied by an absence.
	 */
	nrf_gpio_cfg_default(BOARD_PIN_CHARGER_HICHG);
}
```

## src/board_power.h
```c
/*
 * Board-level pins that are not application resources but still have to be
 * driven, because leaving them floating makes the board draw current.
 */

#ifndef BOARD_POWER_H_
#define BOARD_POWER_H_

/*
 * Drive the pins the board depends on into their non-drawing state.
 *
 * Called first thing in main(), before anything else touches a GPIO.
 */
void board_power_init(void);

#endif /* BOARD_POWER_H_ */
```

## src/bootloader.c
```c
/*
 * Hand the machine over to the Adafruit nRF52 bootloader.
 *
 * The contract is a magic value in NRF_POWER->GPREGRET, which survives a soft
 * reset. The values below are copied from the bootloader's own src/main.c
 * (the source for this board ships in the DRV2605L project under
 * tools/bootloader-src):
 *
 *   0x57  DFU_MAGIC_UF2_RESET          -> CDC + MSC, i.e. the NICENANO volume
 *   0x4e  DFU_MAGIC_SERIAL_ONLY_RESET  -> CDC only, for adafruit-nrfutil
 *   0xa8  DFU_MAGIC_OTA_RESET          -> BLE OTA
 *   0xb1  DFU_MAGIC_OTA_APPJUM         -> BLEDfu service, SoftDevice running
 *
 * 0x57 is the one that gives drag-and-drop.
 *
 * Why not the 1200 bps touch that Arduino boards use: that trick is handled by
 * the *application*, which watches for a 1200 baud line coding on the CDC port.
 * Zephyr's CDC ACM driver records the host's SET_LINE_CODING request and lets
 * you read it back with uart_line_ctrl_get(UART_LINE_CTRL_BAUD_RATE), but it
 * exposes no notification when it changes, so the only way to notice would be
 * to poll - which would burn part of a 50 uA budget on a feature that matters
 * once per firmware release. Doing it from the BLE control point instead costs
 * nothing and works from the same phone that is already connected.
 */

#include <zephyr/kernel.h>
#include <zephyr/logging/log.h>
#include <zephyr/sys/reboot.h>

#include <hal/nrf_power.h>

#include "bootloader.h"

LOG_MODULE_REGISTER(bootloader, LOG_LEVEL_INF);

#define DFU_MAGIC_UF2_RESET 0x57

void bootloader_request(void)
{
	LOG_INF("bootloader: requesting UF2 mode (GPREGRET=0x%02x), resetting now",
		DFU_MAGIC_UF2_RESET);

	/* GPREGRET is retained across a soft reset, which is the whole point
	 * of the handshake.
	 */
	NRF_POWER->GPREGRET = DFU_MAGIC_UF2_RESET;

	/* Let the deferred log backend drain before the core goes away. */
	k_sleep(K_MSEC(100));

	sys_reboot(SYS_REBOOT_COLD);
}
```

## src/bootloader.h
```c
/*
 * Entry point into the Adafruit UF2 bootloader.
 *
 * The board cannot be reflashed over SWD, so getting into the bootloader
 * matters: without this, the only way in is a physical double-tap of the
 * reset pad, which means opening the enclosure.
 */

#ifndef BOOTLOADER_H_
#define BOOTLOADER_H_

/**
 * Reboot into the Adafruit UF2 bootloader (NICENANO mass-storage volume).
 *
 * Does not return.
 */
void bootloader_request(void);

#endif /* BOOTLOADER_H_ */
```

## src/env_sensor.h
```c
/*
 * Environment sampling front-end: SHT31 temperature/humidity plus the
 * on-board battery divider.
 */

#ifndef ENV_SENSOR_H_
#define ENV_SENSOR_H_

#include <stdbool.h>
#include <stdint.h>

/** One set of readings. Units match the GATT characteristics exactly. */
struct env_sample {
	int16_t temp_c100;   /**< 0.01 degC, valid when temp_valid */
	uint16_t hum_pct100; /**< 0.01 %RH, valid when hum_valid */
	uint16_t batt_mv;    /**< millivolts, valid when batt_valid */
	bool temp_valid;
	bool hum_valid;
	bool batt_valid;
};

/**
 * Probe the sensors and prepare the ADC channel.
 *
 * @return 0 on success, negative errno if the SHT31 is missing.
 */
int env_sensor_init(void);

/**
 * Take a fresh reading.
 *
 * Never fails as a whole: channels that could not be read come back with
 * their *_valid flag cleared and their value zeroed.
 *
 * @return 0 if at least one channel produced a value, negative errno otherwise.
 */
int env_sensor_read(struct env_sample *out);

#endif /* ENV_SENSOR_H_ */
```

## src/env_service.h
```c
/*
 * Custom GATT service for the environmental sensor node.
 *
 *   Service      e0f10001-7b5a-4b1c-9a3d-6f2c8e4d5a10
 *   Temperature  e0f10002-...  int16  0.01 degC   read + notify
 *   Humidity     e0f10003-...  uint16 0.01 %RH    read + notify
 *   Battery      e0f10004-...  uint16 millivolt   read
 *   History      e0f10005-...  8-byte records     notify
 *   History ctrl e0f10006-...  uint8 command      write
 *
 * The history characteristic is an extension beyond the three characteristics
 * in the specification: it is what makes the "replay the ring buffer after a
 * reconnect" requirement observable from a phone. Subscribe to it (or write
 * 0x01 to the control point) to receive the backlog.
 */

#ifndef ENV_SERVICE_H_
#define ENV_SERVICE_H_

#include <stdbool.h>

#include "env_sensor.h"

/*
 * Control-point commands. This characteristic started life as a history
 * control point; rebooting into the bootloader belongs to it too, because
 * "do something to the device" is a single concern and adding a second
 * characteristic for one byte would be worse.
 */
#define ENV_CTRL_STOP_REPLAY 0x00
#define ENV_CTRL_START_REPLAY 0x01
#define ENV_CTRL_CLEAR_HISTORY 0x02
#define ENV_CTRL_ENTER_BOOTLOADER 0x03

/**
 * Register the connection callbacks and start advertising.
 *
 * @return 0 on success, negative errno otherwise.
 */
int env_service_init(void);

/** True while a central is connected. */
bool env_service_connected(void);

/**
 * Update the temperature/humidity characteristics and, if the central has
 * subscribed, notify it.
 */
void env_service_publish(const struct env_sample *sample);

#endif /* ENV_SERVICE_H_ */
```

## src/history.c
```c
/*
 * Fixed-size ring buffer for offline samples.
 *
 * Implemented without locking: every access happens from the system work
 * queue, which serialises the sampler, the replay path and the GATT read
 * handler. If a second context ever needs access, add a k_mutex here.
 */

#include <string.h>

#include <zephyr/kernel.h>
#include <zephyr/logging/log.h>

#include "history.h"

LOG_MODULE_REGISTER(history, LOG_LEVEL_INF);

static struct history_record ring[HISTORY_CAPACITY];
static size_t head;              /* next slot to write */
static size_t count;             /* valid records */
static uint32_t dropped;         /* records lost to overflow */

void history_init(void)
{
	memset(ring, 0, sizeof(ring));
	head = 0U;
	count = 0U;
	dropped = 0U;
}

bool history_push(const struct history_record *rec)
{
	bool had_room = (count < HISTORY_CAPACITY);

	ring[head] = *rec;
	head = (head + 1U) % HISTORY_CAPACITY;

	if (had_room) {
		count++;
		LOG_DBG("stored sample #%zu (temp=%d centi-C, hum=%u centi-%%RH)",
			count - 1U, rec->temp_c100, rec->hum_pct100);
	} else {
		dropped++;
		if ((dropped % 10U) == 1U) {
			LOG_WRN("history full, dropped %u record(s)", dropped);
		}
	}

	return had_room;
}

size_t history_count(void)
{
	return count;
}

uint32_t history_dropped(void)
{
	return dropped;
}

const struct history_record *history_at(size_t index)
{
	size_t oldest;

	if (index >= count) {
		return NULL;
	}

	/* `head` points one past the newest record, so the oldest record is
	 * HISTORY_CAPACITY slots back from it.
	 */
	oldest = (head + HISTORY_CAPACITY - count) % HISTORY_CAPACITY;

	return &ring[(oldest + index) % HISTORY_CAPACITY];
}

void history_clear(void)
{
	head = 0U;
	count = 0U;
}
```

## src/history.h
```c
/*
 * Ring buffer of environment samples taken while no central was connected.
 *
 * Records are kept in RAM only (System ON Idle keeps RAM alive, see the
 * power management notes in README.md). Once the buffer is full the oldest
 * record is overwritten and a drop counter is incremented, so the host can
 * tell that data was lost rather than silently receiving a shorter history.
 */

#ifndef ENV_HISTORY_H_
#define ENV_HISTORY_H_

#include <stdbool.h>
#include <stddef.h>
#include <stdint.h>

/** Maximum number of stored samples. */
#define HISTORY_CAPACITY 100

/** One stored sample. Packed so it can be pushed straight onto the air. */
struct history_record {
	uint32_t uptime_s;   /**< seconds since boot when the sample was taken */
	int16_t temp_c100;   /**< temperature in 0.01 degC */
	uint16_t hum_pct100; /**< relative humidity in 0.01 %RH */
} __packed;

/** Reset the ring buffer to empty. */
void history_init(void);

/**
 * Append a sample.
 *
 * @return true if the buffer was not full, false if the oldest record had to
 *         be discarded to make room (see history_dropped()).
 */
bool history_push(const struct history_record *rec);

/** Number of valid records currently stored (0..HISTORY_CAPACITY). */
size_t history_count(void);

/** Number of records discarded because the buffer was full. */
uint32_t history_dropped(void);

/**
 * Access a record by age.
 *
 * @param index 0 = oldest record, history_count() - 1 = newest.
 * @return pointer into the buffer, or NULL if index is out of range.
 */
const struct history_record *history_at(size_t index);

/** Drop every stored record (called once the history has been replayed). */
void history_clear(void);

#endif /* ENV_HISTORY_H_ */
```
